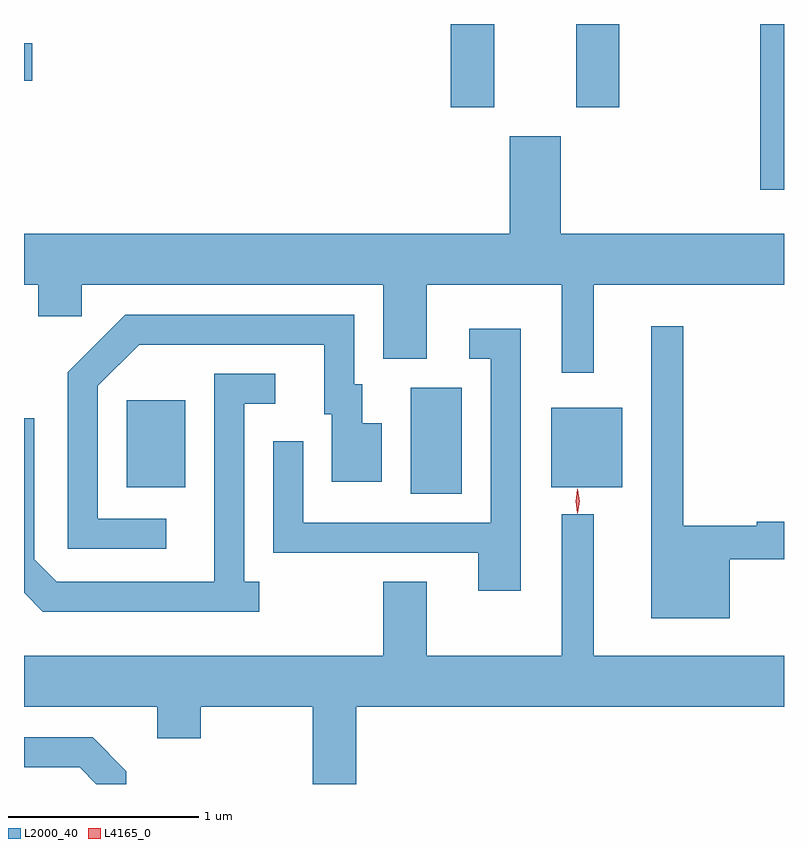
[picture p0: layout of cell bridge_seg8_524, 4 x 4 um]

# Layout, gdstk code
import gdstk
lib = gdstk.Library(unit=1e-6, precision=1e-09)
def R(c, l, rs):  # rectangles x0, y0, x1, y1
    for r in rs: c.add(gdstk.rectangle(r[:2], r[2:], *l))
def P(c, l, *ps):  # polygons
    for p in ps: c.add(gdstk.Polygon(p, *l))
L2000_40 = (2000, 40)
L4165_0 = (4165, 0)

bridge_seg8_524 = lib.new_cell('bridge_seg8_524')
R(bridge_seg8_524, L2000_40, [(318.156,1826.436,318.424,1826.994), (316.661,1826.471,316.969,1826.929), (318.896,1826.471,319.269,1826.889), (319.996,1828.036,320.12,1828.909), (318.366,1828.471,318.594,1828.909), (319.026,1828.471,319.254,1828.909), (316.12,1828.611,316.164,1828.809)])
P(bridge_seg8_524, L2000_40, [(319.119,1827.536),(320.12,1827.536),(320.12,1827.804),(318.944,1827.804),(318.944,1828.319),(318.676,1828.319),(318.676,1827.804),(316.12,1827.804),(316.12,1827.536),(316.196,1827.536),(316.196,1827.371),(316.424,1827.371),(316.424,1827.536),(318.011,1827.536),(318.011,1827.146),(318.239,1827.146),(318.239,1827.536),(318.951,1827.536),(318.951,1827.073),(319.119,1827.073)],
  [(316.868,1826.304),(316.509,1826.304),(316.509,1827.004),(316.727,1827.221),(317.701,1827.221),(317.701,1826.856),(317.741,1826.856),(317.741,1826.501),(318.004,1826.501),(318.004,1826.809),(317.899,1826.809),(317.899,1827.014),(317.859,1827.014),(317.859,1827.379),(316.654,1827.379),(316.351,1827.077),(316.351,1826.146),(316.868,1826.146)],
  [(319.834,1826.091),(320.12,1826.091),(320.12,1826.289),(319.976,1826.289),(319.976,1826.269),(319.589,1826.269),(319.589,1827.318),(319.421,1827.318),(319.421,1825.781),(319.834,1825.781)],
  [(318.734,1827.304),(318.463,1827.304),(318.463,1827.146),(318.576,1827.146),(318.576,1826.284),(317.589,1826.284),(317.589,1826.713),(317.431,1826.713),(317.431,1826.126),(318.511,1826.126),(318.511,1825.926),(318.734,1825.926)],
  [(317.358,1825.974),(317.279,1825.974),(317.279,1826.911),(317.443,1826.911),(317.443,1827.069),(317.121,1827.069),(317.121,1825.974),(316.292,1825.974),(316.174,1826.092),(316.174,1826.833),(316.12,1826.833),(316.12,1825.915),(316.219,1825.816),(317.358,1825.816)],
  [(317.869,1825.316),(320.12,1825.316),(320.12,1825.584),(319.119,1825.584),(319.119,1826.328),(318.951,1826.328),(318.951,1825.584),(318.239,1825.584),(318.239,1825.974),(318.011,1825.974),(318.011,1825.584),(316.12,1825.584),(316.12,1825.316),(316.821,1825.316),(316.821,1825.151),(317.049,1825.151),(317.049,1825.316),(317.641,1825.316),(317.641,1824.909),(317.869,1824.909)],
  [(316.659,1824.977),(316.482,1825.154),(316.12,1825.154),(316.12,1824.996),(316.414,1824.996),(316.501,1824.909),(316.659,1824.909)])
P(bridge_seg8_524, L4165_0, [(319.033,1826.333),(319.024,1826.397),(319.033,1826.461),(319.034,1826.462),(319.034,1826.461),(319.044,1826.397),(319.034,1826.333),(319.034,1826.333)])

lib.write_gds('bridge_seg8_524.gds')
